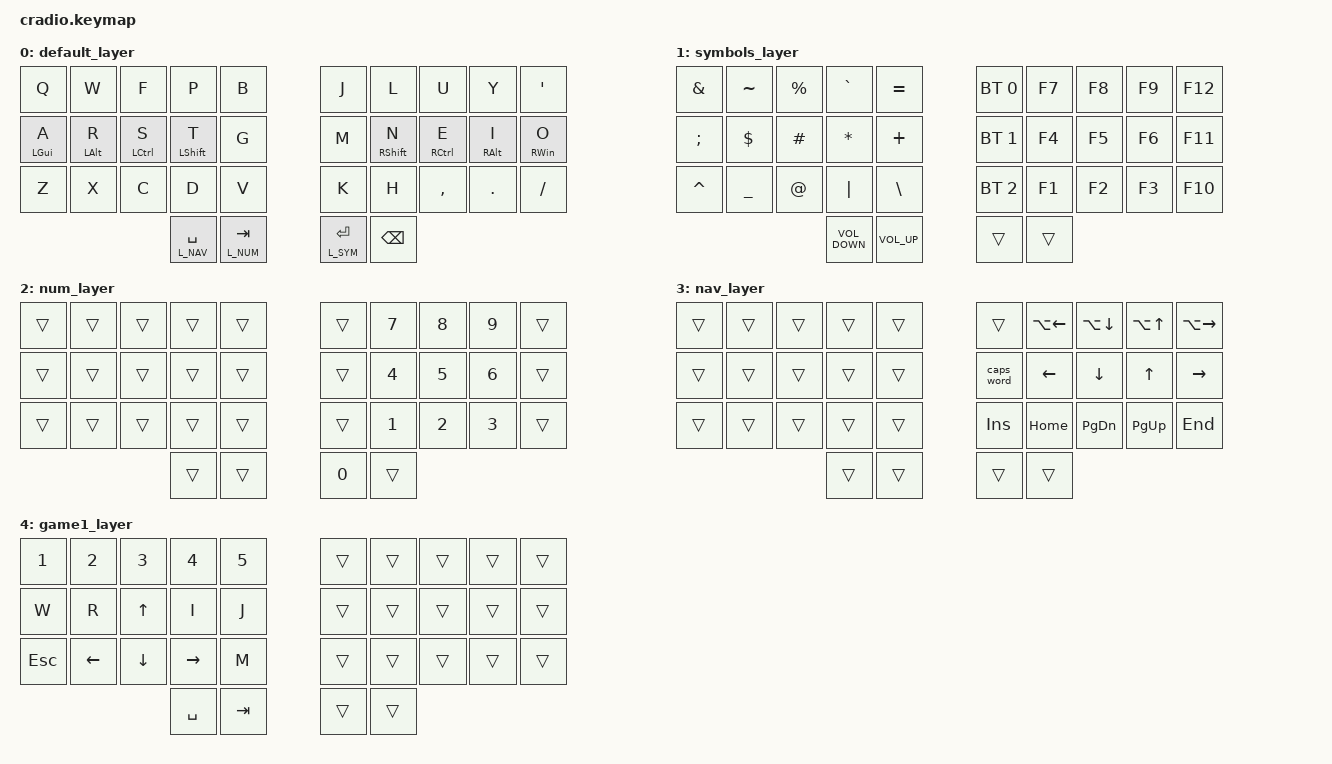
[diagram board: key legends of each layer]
/*
 * Copyright (c) 2020 The ZMK Contributors
 *
 * SPDX-License-Identifier: MIT
 */

#include <behaviors.dtsi>
#include <dt-bindings/zmk/bt.h>
#include <dt-bindings/zmk/keys.h>

// layers

#define L_DEFAULT 0
#define L_SYM     1
#define L_NUM     2
#define L_NAV     3
#define L_GAME1   4

&mt {
    quick-tap-ms = <175>;
    require-prior-idle-ms = <150>;
    flavor = "balanced";
};

// key positions
// -------------------------------------------------------
// |  0 |  1 |  2 |  3 |  4 |   |  5 |  6 |  7 |  8 |  9 |
// | 10 | 11 | 12 | 13 | 14 |   | 15 | 16 | 17 | 18 | 19 |
// | 20 | 21 | 22 | 23 | 24 |   | 25 | 26 | 27 | 28 | 29 |
//                | 30 | 31 |   | 32 | 33 |

/ {
    combos {
        compatible = "zmk,combos";

        left_brace {
            bindings = <&kp LEFT_BRACE>;
            key-positions = <2 1>;
        };

        right_brace {
            bindings = <&kp RIGHT_BRACE>;
            key-positions = <3 2>;
        };

        left_parenthesis {
            bindings = <&kp LEFT_PARENTHESIS>;
            key-positions = <11 12>;
        };

        right_parenthesis {
            bindings = <&kp RIGHT_PARENTHESIS>;
            key-positions = <13 12>;
        };

        left_bracket {
            bindings = <&kp LEFT_BRACKET>;
            key-positions = <21 22>;
        };

        right_bracket {
            bindings = <&kp RIGHT_BRACKET>;
            key-positions = <23 22>;
        };

        equal {
            bindings = <&kp EQUAL>;
            key-positions = <7 6>;
        };

        minus {
            bindings = <&kp MINUS>;
            key-positions = <8 7>;
        };

        colon {
            bindings = <&kp COLON>;
            key-positions = <16 17>;
        };

        escape {
            bindings = <&kp ESCAPE>;
            key-positions = <17 18>;
        };

        exclamation {
            bindings = <&kp EXCLAMATION>;
            key-positions = <26 27>;
        };

        delete {
            bindings = <&kp DELETE>;
            key-positions = <27 28>;
        };

        game1_layer {
            bindings = <&tog L_GAME1>;
            key-positions = <2 7>;
        };


        clr_bluetooth {
            bindings = <&kp BT_CLR>;
            key-positions = <5 32 33>;
        };
    };

    keymap {
        compatible = "zmk,keymap";

        default_layer {
            // -------------------------------------------------------------------
            // |   Q  |  W  |  F  |  P  |  B  |   |  J  |  U   |  U  |  Y  |  '  |
            // |   A  |  R  |  T  |  T  |  G  |   |  M  |  N   |  E  |  I  |  O  |
            // |   Z  |  X  |  C  |  D  |  V  |   |  K  |  H   |  ,  |  .  |  /  |
            //                    | SPC | TAB |   | ENT | BKSP |

            bindings = <
&kp Q           &kp W           &kp F               &kp P             &kp B            &kp J            &kp L              &kp U        &kp Y            &kp SQT
&mt LEFT_GUI A  &mt LEFT_ALT R  &mt LEFT_CONTROL S  &mt LEFT_SHIFT T  &kp G            &kp M            &mt RIGHT_SHIFT N  &mt RCTRL E  &mt RIGHT_ALT I  &mt RIGHT_WIN O
&kp Z           &kp X           &kp C               &kp D             &kp V            &kp K            &kp H              &kp COMMA    &kp DOT          &kp FSLH
                                                    &lt L_NAV SPACE   &lt L_NUM TAB    &lt L_SYM ENTER  &kp BACKSPACE
            >;
        };

        symbols_layer {
            // ------------------------------------------------------
            // | & | ~ | % | `  | =  |   | BT0 |  F7  | F8 | F9 | F12 |
            // | ; | $ | # | *  | +  |   | BT1 |  F4  | F5 | F6 | F11 |
            // | ^ | _ | @ | |  | \  |   | BT2 |  F1  | F2 | F3 | F10 |
            //             | v+ | v- |   | ENT | BKSP |

            bindings = <
&kp AMPERSAND  &kp TILDE   &kp PERCENT  &kp GRAVE         &kp EQUAL         &bt BT_SEL 0  &kp F7  &kp F8  &kp F9  &kp F12
&kp SEMI       &kp DOLLAR  &kp HASH     &kp ASTERISK      &kp PLUS          &bt BT_SEL 1  &kp F4  &kp F5  &kp F6  &kp F11
&kp CARET      &kp UNDER   &kp AT_SIGN  &kp PIPE          &kp BACKSLASH     &bt BT_SEL 2  &kp F1  &kp F2  &kp F3  &kp F10
                                        &kp C_VOLUME_DOWN &kp C_VOLUME_UP   &trans        &trans
            >;
        };

        num_layer {
            // ----------------------------------------------------
            // | Q | W | F |  P  |  B  |   | J |   7  | 8 | 9 | ' |
            // | A | R | T |  T  |  G  |   | M |   4  | 5 | 6 | O |
            // | Z | X | C |  D  |  V  |   | K |   1  | 2 | 3 | / |
            //             | SPC | TAB |   | 0 | BKSP |

            bindings = <
&trans  &trans  &trans  &trans  &trans    &trans  &kp NUMBER_7  &kp NUMBER_8  &kp NUMBER_9  &trans
&trans  &trans  &trans  &trans  &trans    &trans  &kp NUMBER_4  &kp NUMBER_5  &kp NUMBER_6  &trans
&trans  &trans  &trans  &trans  &trans    &trans  &kp NUMBER_1  &kp NUMBER_2  &kp NUMBER_3  &trans
                        &trans  &trans    &kp N0  &trans
            >;
        };

        nav_layer {
            // ----------------------------------------------------
            // | Q | W | F |  P  |  B  |   |   J  | A-LEFT | A-DOWN | A-UP | A-RIGHT |
            // | A | R | T |  T  |  G  |   |CWORD |  LEFT  |  DOWN  |   UP |  RIGHT  |
            // | Z | X | C |  D  |  V  |   |  INS |  HOME  | P_DOWN | P_UP |    END  |
            //             | SPC | TAB |   |  ENT |  BKSP  |

            bindings = <
&trans  &trans  &trans  &trans  &trans    &trans      &kp LA(LEFT)    &kp LA(DOWN_ARROW)  &kp LA(UP_ARROW)  &kp LA(RIGHT)
&trans  &trans  &trans  &trans  &trans    &caps_word  &kp LEFT_ARROW  &kp DOWN_ARROW      &kp UP_ARROW      &kp RIGHT
&trans  &trans  &trans  &trans  &trans    &kp INSERT  &kp HOME        &kp PAGE_DOWN       &kp PAGE_UP       &kp END
                        &trans  &trans    &trans      &trans
            >;
        };

        game1_layer {
            // -------------------------------------------------------------------
            // |  1  |   2  |   3  |    4  |  5  |   |  J  |  U   |  U  |  Y  |  '  |
            // |  W  |   R  |  UP  |    I  |  J  |   |  M  |  N   |  E  |  I  |  O  |
            // | ESC | LEFT | DOWN | RIGHT |  M  |   |  K  |  H   |  ,  |  .  |  /  |
            //                     | SPC   | TAB |   | ENT | BKSP |

            bindings = <
&kp NUMBER_1  &kp NUMBER_2    &kp NUMBER_3    &kp NUMBER_4     &kp NUMBER_5    &trans  &trans  &trans  &trans  &trans
&kp W         &kp R           &kp UP_ARROW    &kp I            &kp J           &trans  &trans  &trans  &trans  &trans
&kp ESCAPE    &kp LEFT_ARROW  &kp DOWN_ARROW  &kp RIGHT_ARROW  &kp M           &trans  &trans  &trans  &trans  &trans
                                              &kp SPACE        &kp TAB         &trans  &trans
            >;
        };
    };
};
